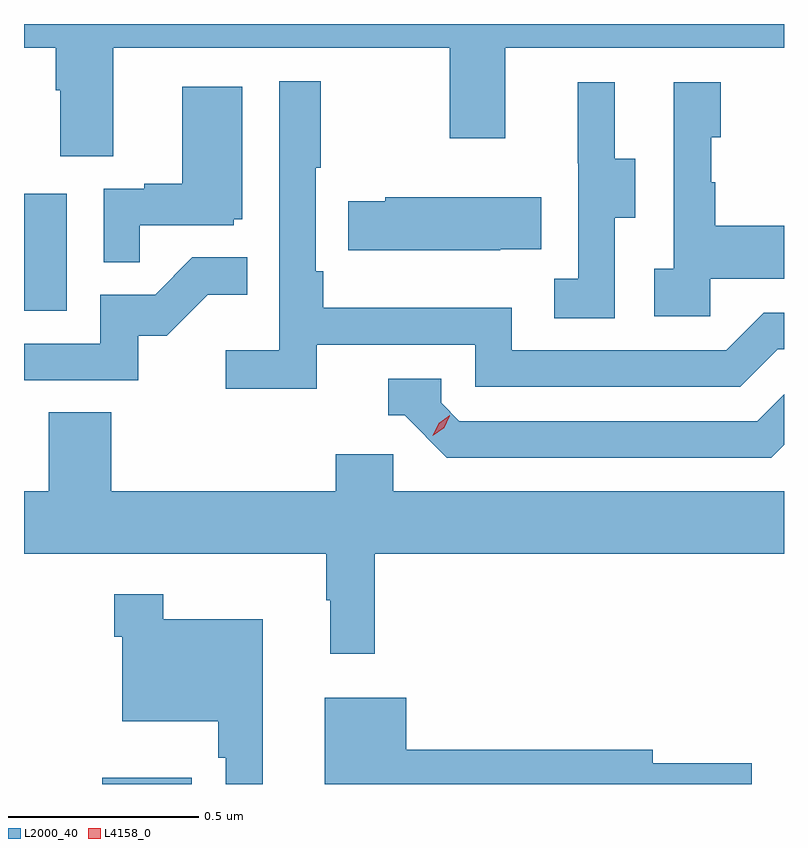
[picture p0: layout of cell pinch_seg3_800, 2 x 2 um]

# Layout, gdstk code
import gdstk
lib = gdstk.Library(unit=1e-6, precision=1e-09)
def R(c, l, rs):  # rectangles x0, y0, x1, y1
    for r in rs: c.add(gdstk.rectangle(r[:2], r[2:], *l))
def P(c, l, *ps):  # polygons
    for p in ps: c.add(gdstk.Polygon(p, *l))
L2000_40 = (2000, 40)
L4158_0 = (4158, 0)

pinch_seg3_800 = lib.new_cell('pinch_seg3_800')
R(pinch_seg3_800, L2000_40, [(819.146,718.958,819.382,718.975), (818.94,720.204,819.052,720.511)])
P(pinch_seg3_800, L2000_40, [(819.175,720.896),(820.06,720.896),(820.06,720.657),(820.207,720.657),(820.207,720.896),(820.94,720.896),(820.94,720.958),(818.94,720.958),(818.94,720.896),(819.023,720.896),(819.023,720.784),(819.035,720.784),(819.035,720.61),(819.175,720.61)],
  [(819.71,720.114),(820.128,720.114),(820.128,720.003),(820.825,720.003),(820.924,720.102),(820.94,720.102),(820.94,720.198),(820.887,720.198),(820.788,720.099),(820.224,720.099),(820.224,720.211),(819.728,720.211),(819.728,720.307),(819.708,720.307),(819.708,720.58),(819.721,720.58),(819.721,720.808),(819.612,720.808),(819.612,720.1),(819.471,720.1),(819.471,719.998),(819.71,719.998)],
  [(820.494,720.448),(820.549,720.448),(820.549,720.603),(820.495,720.603),(820.495,720.805),(820.397,720.805),(820.397,720.591),(820.398,720.591),(820.398,720.287),(820.335,720.287),(820.335,720.184),(820.494,720.184)],
  [(820.746,720.287),(820.94,720.287),(820.94,720.427),(820.759,720.427),(820.759,720.542),(820.749,720.542),(820.749,720.66),(820.774,720.66),(820.774,720.805),(820.65,720.805),(820.65,720.314),(820.599,720.314),(820.599,720.189),(820.746,720.189)],
  [(819.245,720.429),(819.492,720.429),(819.492,720.444),(819.514,720.444),(819.514,720.793),(819.356,720.793),(819.356,720.538),(819.257,720.538),(819.257,720.525),(819.15,720.525),(819.15,720.331),(819.245,720.331)],
  [(820.193,720.365),(820.301,720.365),(820.301,720.502),(819.891,720.502),(819.891,720.492),(819.793,720.492),(819.793,720.362),(820.193,720.362)],
  [(819.24,720.138),(819.316,720.138),(819.423,720.245),(819.527,720.245),(819.527,720.344),(819.383,720.344),(819.285,720.246),(819.141,720.246),(819.141,720.117),(818.94,720.117),(818.94,720.021),(819.24,720.021)],
  [(820.94,719.851),(820.94,719.984),(820.869,719.913),(820.086,719.913),(820.038,719.961),(820.038,720.024),(819.899,720.024),(819.899,719.928),(819.942,719.928),(820.053,719.817),(820.906,719.817)],
  [(819.863,719.564),(820.94,719.564),(820.94,719.728),(819.912,719.728),(819.912,719.826),(819.761,719.826),(819.761,719.728),(819.17,719.728),(819.17,719.936),(819.005,719.936),(819.005,719.728),(818.94,719.728),(818.94,719.564),(819.735,719.564),(819.735,719.441),(819.746,719.441),(819.746,719.301),(819.863,719.301)],
  [(819.568,719.392),(819.307,719.392),(819.307,719.458),(819.178,719.458),(819.178,719.345),(819.198,719.345),(819.198,719.123),(819.451,719.123),(819.451,719.027),(819.471,719.027),(819.471,718.958),(819.568,718.958)],
  [(820.855,719.012),(820.594,719.012),(820.594,719.048),(819.946,719.048),(819.946,719.185),(819.731,719.185),(819.731,718.958),(820.855,718.958)])
P(pinch_seg3_800, L4158_0, [(820.015,719.875),(820.015,719.875),(820.031,719.908),(820.061,719.928),(820.061,719.928),(820.061,719.927),(820.046,719.895),(820.016,719.875)])

lib.write_gds('pinch_seg3_800.gds')
